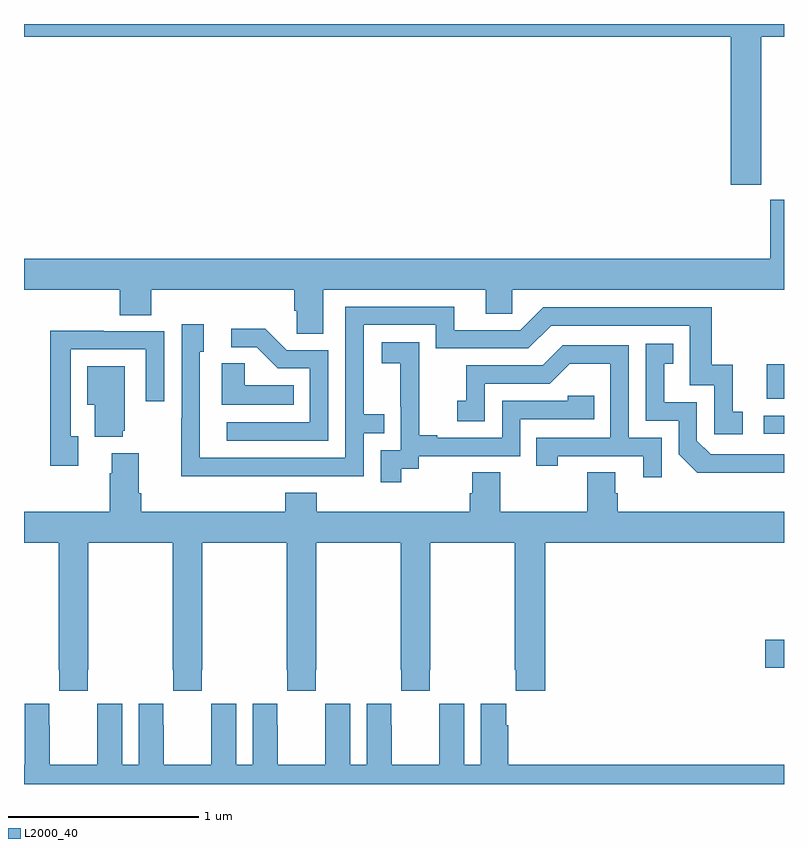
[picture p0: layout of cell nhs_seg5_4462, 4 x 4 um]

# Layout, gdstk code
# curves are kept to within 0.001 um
import gdstk
lib = gdstk.Library(unit=1e-6, precision=1e-09)
def R(c, l, rs):  # rectangles x0, y0, x1, y1
    for r in rs: c.add(gdstk.rectangle(r[:2], r[2:], *l))
def P(c, l, *ps):  # polygons
    for p in ps: c.add(gdstk.Polygon(p, *l))
L2000_40 = (2000, 40)

nhs_seg5_4462 = lib.new_cell('nhs_seg5_4462')
R(nhs_seg5_4462, L2000_40, [(376.902,881.411,377,881.558), (376.893,882.642,377,882.738), (376.91,882.827,377,883.009)])
P(nhs_seg5_4462, L2000_40, [(376.881,884.732),(377,884.732),(377,884.799),(373,884.799),(373,884.732),(376.721,884.732),(376.721,883.953),(376.881,883.953)],
  [(374.575,883.4),(375.431,883.4),(375.431,883.273),(375.57,883.273),(375.57,883.4),(377,883.4),(377,883.873),(376.928,883.873),(376.928,883.564),(373,883.564),(373,883.4),(373.505,883.4),(373.505,883.267),(373.67,883.267),(373.67,883.4),(374.423,883.4),(374.423,883.291),(374.436,883.291),(374.436,883.168),(374.575,883.168)],
  [(374.291,882.42),(374.787,882.42),(374.787,882.645),(374.897,882.645),(374.897,882.746),(374.787,882.746),(374.787,883.215),(375.168,883.215),(375.168,883.092),(375.654,883.092),(375.774,883.212),(376.503,883.212),(376.503,882.897),(376.632,882.897),(376.632,882.639),(376.783,882.639),(376.783,882.759),(376.73,882.759),(376.73,883.006),(376.619,883.006),(376.619,883.308),(375.732,883.308),(375.612,883.188),(375.265,883.188),(375.265,883.311),(374.691,883.311),(374.691,882.516),(373.926,882.516),(373.926,883.074),(373.945,883.074),(373.945,883.219),(373.83,883.219),(373.83,882.725),(373.828,882.725),(373.828,882.419)],
  [(374.601,883.083),(374.382,883.083),(374.269,883.196),(374.091,883.196),(374.091,883.098),(374.225,883.098),(374.336,882.987),(374.505,882.987),(374.505,882.702),(374.067,882.702),(374.067,882.606),(374.601,882.606)],
  [(373.285,882.63),(373.245,882.63),(373.245,883.086),(373.641,883.086),(373.641,882.813),(373.737,882.813),(373.737,883.182),(373.421,883.182),(373.421,883.184),(373.137,883.184),(373.137,882.474),(373.285,882.474)],
  [(374.986,882.457),(375.078,882.457),(375.078,882.525),(375.612,882.525),(375.612,882.72),(376.001,882.72),(376.001,882.843),(375.861,882.843),(375.861,882.816),(375.516,882.816),(375.516,882.621),(375.175,882.621),(375.175,882.634),(375.08,882.634),(375.08,882.917),(375.081,882.917),(375.081,883.123),(374.883,883.123),(374.883,883.013),(374.981,883.013),(374.981,882.785),(374.982,882.785),(374.982,882.555),(374.877,882.555),(374.877,882.387),(374.986,882.387)],
  [(376.952,882.438),(377,882.438),(377,882.534),(376.614,882.534),(376.542,882.606),(376.542,882.807),(376.369,882.807),(376.369,883.011),(376.418,883.011),(376.418,883.117),(376.272,883.117),(376.272,882.711),(376.446,882.711),(376.446,882.534),(376.544,882.437)],
  [(376.356,882.621),(376.182,882.621),(376.182,883.107),(375.836,883.107),(375.731,883.002),(375.328,883.002),(375.328,882.817),(375.279,882.817),(375.279,882.708),(375.426,882.708),(375.426,882.906),(375.768,882.906),(375.872,883.01),(376.086,883.01),(376.086,882.621),(375.697,882.621),(375.697,882.474),(375.808,882.474),(375.808,882.525),(376.259,882.525),(376.259,882.414),(376.356,882.414)],
  [(374.42,882.898),(374.163,882.898),(374.163,883.013),(374.042,883.013),(374.042,882.794),(374.42,882.794)],
  [(373.52,882.657),(373.531,882.657),(373.531,882.997),(373.334,882.997),(373.334,882.794),(373.373,882.794),(373.373,882.626),(373.52,882.626)],
  [(373.335,881.401),(373.338,881.401),(373.338,882.068),(373.783,882.068),(373.783,881.401),(373.785,881.401),(373.785,881.289),(373.935,881.289),(373.935,881.401),(373.938,881.401),(373.938,882.068),(374.383,882.068),(374.383,881.401),(374.385,881.401),(374.385,881.289),(374.535,881.289),(374.535,881.401),(374.538,881.401),(374.538,882.068),(374.983,882.068),(374.983,881.401),(374.985,881.401),(374.985,881.289),(375.135,881.289),(375.135,881.401),(375.138,881.401),(375.138,882.068),(375.583,882.068),(375.583,881.401),(375.589,881.401),(375.589,881.289),(375.743,881.289),(375.743,882.068),(377,882.068),(377,882.232),(376.124,882.232),(376.124,882.33),(376.111,882.33),(376.111,882.44),(375.964,882.44),(375.964,882.232),(375.507,882.232),(375.507,882.44),(375.359,882.44),(375.359,882.33),(375.347,882.33),(375.347,882.232),(374.54,882.232),(374.54,882.331),(374.375,882.331),(374.375,882.232),(373.616,882.232),(373.616,882.328),(373.603,882.328),(373.603,882.541),(373.463,882.541),(373.463,882.434),(373.451,882.434),(373.451,882.232),(373,882.232),(373,882.068),(373.183,882.068),(373.183,881.401),(373.185,881.401),(373.185,881.289),(373.335,881.289)],
  [(374.586,881.221),(374.586,881.108),(374.585,881.108),(374.585,880.9),(374.335,880.9),(374.335,881.108),(374.334,881.108),(374.334,881.221),(374.204,881.221),(374.204,880.9),(374.116,880.9),(374.116,881.221),(373.986,881.221),(373.986,881.108),(373.985,881.108),(373.985,880.9),(373.735,880.9),(373.735,881.108),(373.734,881.108),(373.734,881.221),(373.604,881.221),(373.604,880.9),(373.516,880.9),(373.516,881.221),(373.386,881.221),(373.386,881.108),(373.385,881.108),(373.385,880.9),(373.135,880.9),(373.135,881.108),(373.134,881.108),(373.134,881.221),(373.004,881.221),(373.004,880.9),(373,880.9),(373,880.799),(377,880.799),(377,880.9),(375.548,880.9),(375.548,881.108),(375.538,881.108),(375.538,881.221),(375.404,881.221),(375.404,880.9),(375.316,880.9),(375.316,881.221),(375.186,881.221),(375.186,881.108),(375.185,881.108),(375.185,880.9),(374.935,880.9),(374.935,881.108),(374.934,881.108),(374.934,881.221),(374.804,881.221),(374.804,880.9),(374.716,880.9),(374.716,881.221)])

lib.write_gds('nhs_seg5_4462.gds')
